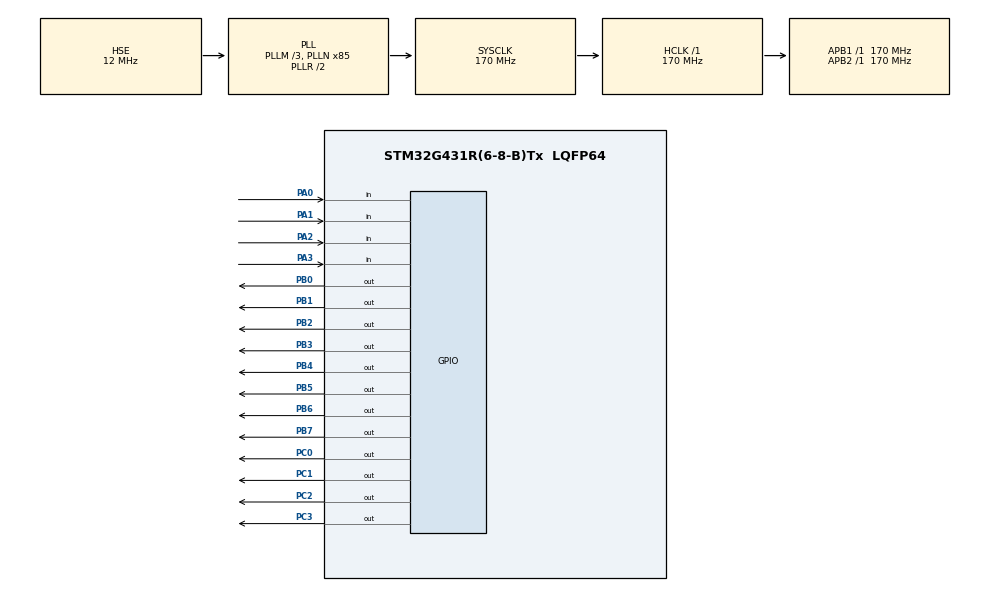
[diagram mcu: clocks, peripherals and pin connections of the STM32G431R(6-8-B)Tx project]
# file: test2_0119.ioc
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Mcu.Family=STM32G4
Mcu.Name=STM32G431R(6-8-B)Tx
Mcu.Package=LQFP64
NVIC.PriorityGroup=NVIC_PRIORITYGROUP_4
PA0.Signal=GPIO_Input
PA1.Signal=GPIO_Input
PA2.Signal=GPIO_Input
PA3.Signal=GPIO_Input
PB0.Signal=GPIO_Output
PB1.Signal=GPIO_Output
PB2.Signal=GPIO_Output
PB3.Signal=GPIO_Output
PB4.Signal=GPIO_Output
PB5.Signal=GPIO_Output
PB6.Signal=GPIO_Output
PB7.Signal=GPIO_Output
PC0.Signal=GPIO_Output
PC1.Signal=GPIO_Output
PC2.Signal=GPIO_Output
PC3.Signal=GPIO_Output
PF0-OSC_IN.Mode=HSE-External-Oscillator
PF0-OSC_IN.Signal=RCC_OSC_IN
PF1-OSC_OUT.Mode=HSE-External-Oscillator
PF1-OSC_OUT.Signal=RCC_OSC_OUT
ProjectManager.HeapSize=0x200
ProjectManager.StackSize=0x400
ProjectManager.TargetToolchain=MDK-ARM V5.32
RCC.ADC12Freq_Value=170000000
RCC.AHBFreq_Value=170000000
RCC.APB1Freq_Value=170000000
RCC.APB1TimFreq_Value=170000000
RCC.APB2Freq_Value=170000000
RCC.APB2TimFreq_Value=170000000
RCC.CortexFreq_Value=170000000
RCC.EXTERNAL_CLOCK_VALUE=12288000
RCC.HCLKFreq_Value=170000000
RCC.HSE_VALUE=12000000
RCC.HSI48_VALUE=48000000
RCC.HSI_VALUE=16000000
RCC.LSE_VALUE=32768
RCC.PLLM=RCC_PLLM_DIV3
RCC.PLLN=85
RCC.PLLSourceVirtual=RCC_PLLSOURCE_HSE
RCC.SYSCLKFreq_VALUE=170000000
RCC.SYSCLKSource=RCC_SYSCLKSOURCE_PLLCLK
RCC.USBFreq_Value=170000000
RCC.VCOOutputFreq_Value=340000000
VP_SYS_VS_DBSignals.Mode=DisableDeadBatterySignals
board=custom

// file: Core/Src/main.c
/* USER CODE BEGIN Header */
/**
  ******************************************************************************
  * @file           : main.c
  * @brief          : Main program body
  ******************************************************************************
  * @attention
  *
  * Copyright (c) 2026 STMicroelectronics.
  * All rights reserved.
  *
  * This software is licensed under terms that can be found in the LICENSE file
  * in the root directory of this software component.
  * If no LICENSE file comes with this software, it is provided AS-IS.
  *
  ******************************************************************************
  */
/* USER CODE END Header */
#include "main.h"

/* USER CODE BEGIN PD */
#define       SEG_A      (1<<0)
#define       SEG_B      (1<<1)
#define       SEG_C      (1<<2)
#define       SEG_D      (1<<3)
#define       SEG_E      (1<<4)
#define       SEG_F      (1<<5)
#define       SEG_G      (1<<6)
#define       SEG_DP     (1<<7)
#define       DIG_0      (SEG_A+SEG_B+SEG_C+SEG_D+SEG_E+SEG_F)
#define       DIG_1      (SEG_B+SEG_C)
#define       DIG_2      (SEG_A+SEG_B+SEG_D+SEG_E+SEG_G)
#define      	DIG_3      (SEG_A+SEG_B+SEG_C+SEG_D+SEG_G)
#define       DIG_4      (SEG_B+SEG_C+SEG_F+SEG_G)
#define       DIG_5      (SEG_A+SEG_F+SEG_G+SEG_C+SEG_D)
#define       DIG_6      (SEG_A+SEG_C+SEG_D+SEG_E+SEG_F+SEG_G)
#define       DIG_7      (SEG_A+SEG_B+SEG_C)
#define       DIG_8   	 (SEG_A+SEG_B+SEG_C+SEG_D+SEG_E+SEG_F+SEG_G)
#define       DIG_9      (SEG_A+SEG_B+SEG_C+SEG_D+SEG_F+SEG_G)
#define       DIG_A      (SEG_A+SEG_B+SEG_C+SEG_E+SEG_F+SEG_G)
#define       DIG_b      (SEG_C+SEG_D+SEG_E+SEG_F+SEG_G)
#define       DIG_C      (SEG_A+SEG_D+SEG_E+SEG_F)
#define       DIG_d      (SEG_B+SEG_C+SEG_D+SEG_E+SEG_G)
#define       DIG_E      (SEG_A+SEG_D+SEG_E+SEG_F+SEG_G)
#define       DIG_15     (SEG_A+SEG_E+SEG_F+SEG_G)//F

/* USER CODE END PD */

/* USER CODE BEGIN PV */
char Table[16] = { DIG_0,DIG_1,DIG_2,DIG_3,DIG_4,DIG_5,DIG_6,DIG_7,
                                     DIG_8,DIG_9,DIG_A,DIG_b,DIG_C,DIG_d,DIG_E,DIG_15
                                    };
char buf[8];
/* USER CODE END PV */

void SystemClock_Config(void);
static void MX_GPIO_Init(void);
void DispNum(int data)
{
        int i = 0;

      if( data == 0 )
        {
                buf[7] = Table[0];
              for( i = 6; i >= 0; i-- )
                {
                      buf[i] = 0;
                }
                return;
        }

        for( i = 7; i >= 0; i-- )
        {
                if(data == 0)
                {
                        buf[i] = 0;
                }
                else
                {
                        buf[i] = Table[data%10];
                        data /= 10;
                }
        }

        return;
}
int Key(int num)
{
    static int state[4] = {0};
    int result = 0;

    switch(state[num])
    {
        case 0:
            if( (GPIOA->IDR & (1 << num)) == 0 )
            {
                    state[num] = 1;
            }
            break;
        case 1:
            if( (GPIOA->IDR & (1 << num)) == (1 << num))
            {
                    state[num] = 0;
            }
            else
            {
                    state[num] = 2;
                  result = 1;
            }
            break;
        case 2:
            if( (GPIOA->IDR & (1 << num)) == (1 << num))
            {
                    state[num] = 0;
            }
            else
            {
            }
            break;
    }

    return result;
}

int main(void)
{

  /* MCU Configuration--------------------------------------------------------*/

  /* Reset of all peripherals, Initializes the Flash interface and the Systick. */
  HAL_Init();

  /* Configure the system clock */
  SystemClock_Config();

  /* Initialize all configured peripherals */
  MX_GPIO_Init();
  /* USER CODE BEGIN 2 */

	GPIOC->ODR |= (1 << 3);
	extern int Flag1sOk;
	extern int Flag2msOk;
	int pos=0;
	int A=0;

  /* USER CODE END 2 */

  /* Infinite loop */
  while (1)
  {
    /* USER CODE BEGIN 3 */

		if(Flag2msOk == 1){

			 if(Key(0)==1)
					 A++;
			 if(Key(1)==1)
					 A--;
			 if(Key(2)==1)
					 A+=10;
			 if(Key(3)==1)
					 A-=10;

			 DispNum(A);
			 Flag2msOk = 0;
			 GPIOB->ODR &= (~255); //&=0b00000000
			 GPIOB->ODR |= buf[pos];

			 GPIOC->ODR &= (~7);//&=0b00001000
			 GPIOC->ODR |= pos;

			 pos++;
			 if(pos >= 8)
			 {
						pos = 0;
			 }
		}
  }
  /* USER CODE END 3 */

}
void SystemClock_Config(void)
{
  RCC_OscInitTypeDef RCC_OscInitStruct = {0};
  RCC_ClkInitTypeDef RCC_ClkInitStruct = {0};

  /** Configure the main internal regulator output voltage
  */
  HAL_PWREx_ControlVoltageScaling(PWR_REGULATOR_VOLTAGE_SCALE1_BOOST);

  /** Initializes the RCC Oscillators according to the specified parameters
  * in the RCC_OscInitTypeDef structure.
  */
  RCC_OscInitStruct.OscillatorType = RCC_OSCILLATORTYPE_HSE;
  RCC_OscInitStruct.HSEState = RCC_HSE_ON;
  RCC_OscInitStruct.PLL.PLLState = RCC_PLL_ON;
  RCC_OscInitStruct.PLL.PLLSource = RCC_PLLSOURCE_HSE;
  RCC_OscInitStruct.PLL.PLLM = RCC_PLLM_DIV3;
  RCC_OscInitStruct.PLL.PLLN = 85;
  RCC_OscInitStruct.PLL.PLLP = RCC_PLLP_DIV2;
  RCC_OscInitStruct.PLL.PLLQ = RCC_PLLQ_DIV2;
  RCC_OscInitStruct.PLL.PLLR = RCC_PLLR_DIV2;
  if (HAL_RCC_OscConfig(&RCC_OscInitStruct) != HAL_OK)
  {
    Error_Handler();
  }

  /** Initializes the CPU, AHB and APB buses clocks
  */
  RCC_ClkInitStruct.ClockType = RCC_CLOCKTYPE_HCLK|RCC_CLOCKTYPE_SYSCLK
                              |RCC_CLOCKTYPE_PCLK1|RCC_CLOCKTYPE_PCLK2;
  RCC_ClkInitStruct.SYSCLKSource = RCC_SYSCLKSOURCE_PLLCLK;
  RCC_ClkInitStruct.AHBCLKDivider = RCC_SYSCLK_DIV1;
  RCC_ClkInitStruct.APB1CLKDivider = RCC_HCLK_DIV1;
  RCC_ClkInitStruct.APB2CLKDivider = RCC_HCLK_DIV1;

  if (HAL_RCC_ClockConfig(&RCC_ClkInitStruct, FLASH_LATENCY_4) != HAL_OK)
  {
    Error_Handler();
  }
}

static void MX_GPIO_Init(void)
{
  GPIO_InitTypeDef GPIO_InitStruct = {0};

  /* GPIO Ports Clock Enable */
  __HAL_RCC_GPIOF_CLK_ENABLE();
  __HAL_RCC_GPIOC_CLK_ENABLE();
  __HAL_RCC_GPIOA_CLK_ENABLE();
  __HAL_RCC_GPIOB_CLK_ENABLE();

  /*Configure GPIO pin Output Level */
  HAL_GPIO_WritePin(GPIOC, GPIO_PIN_0|GPIO_PIN_1|GPIO_PIN_2|GPIO_PIN_3, GPIO_PIN_RESET);

  /*Configure GPIO pin Output Level */
  HAL_GPIO_WritePin(GPIOB, GPIO_PIN_0|GPIO_PIN_1|GPIO_PIN_2|GPIO_PIN_3
                          |GPIO_PIN_4|GPIO_PIN_5|GPIO_PIN_6|GPIO_PIN_7, GPIO_PIN_RESET);

  /*Configure GPIO pins : PC0 PC1 PC2 PC3 */
  GPIO_InitStruct.Pin = GPIO_PIN_0|GPIO_PIN_1|GPIO_PIN_2|GPIO_PIN_3;
  GPIO_InitStruct.Mode = GPIO_MODE_OUTPUT_PP;
  GPIO_InitStruct.Pull = GPIO_NOPULL;
  GPIO_InitStruct.Speed = GPIO_SPEED_FREQ_LOW;
  HAL_GPIO_Init(GPIOC, &GPIO_InitStruct);

  /*Configure GPIO pins : PA0 PA1 PA2 PA3 */
  GPIO_InitStruct.Pin = GPIO_PIN_0|GPIO_PIN_1|GPIO_PIN_2|GPIO_PIN_3;
  GPIO_InitStruct.Mode = GPIO_MODE_INPUT;
  GPIO_InitStruct.Pull = GPIO_NOPULL;
  HAL_GPIO_Init(GPIOA, &GPIO_InitStruct);

  /*Configure GPIO pins : PB0 PB1 PB2 PB3
                           PB4 PB5 PB6 PB7 */
  GPIO_InitStruct.Pin = GPIO_PIN_0|GPIO_PIN_1|GPIO_PIN_2|GPIO_PIN_3
                          |GPIO_PIN_4|GPIO_PIN_5|GPIO_PIN_6|GPIO_PIN_7;
  GPIO_InitStruct.Mode = GPIO_MODE_OUTPUT_PP;
  GPIO_InitStruct.Pull = GPIO_NOPULL;
  GPIO_InitStruct.Speed = GPIO_SPEED_FREQ_LOW;
  HAL_GPIO_Init(GPIOB, &GPIO_InitStruct);

}

void Error_Handler(void)
{
  __disable_irq();
  while (1)
  {
  }
}
